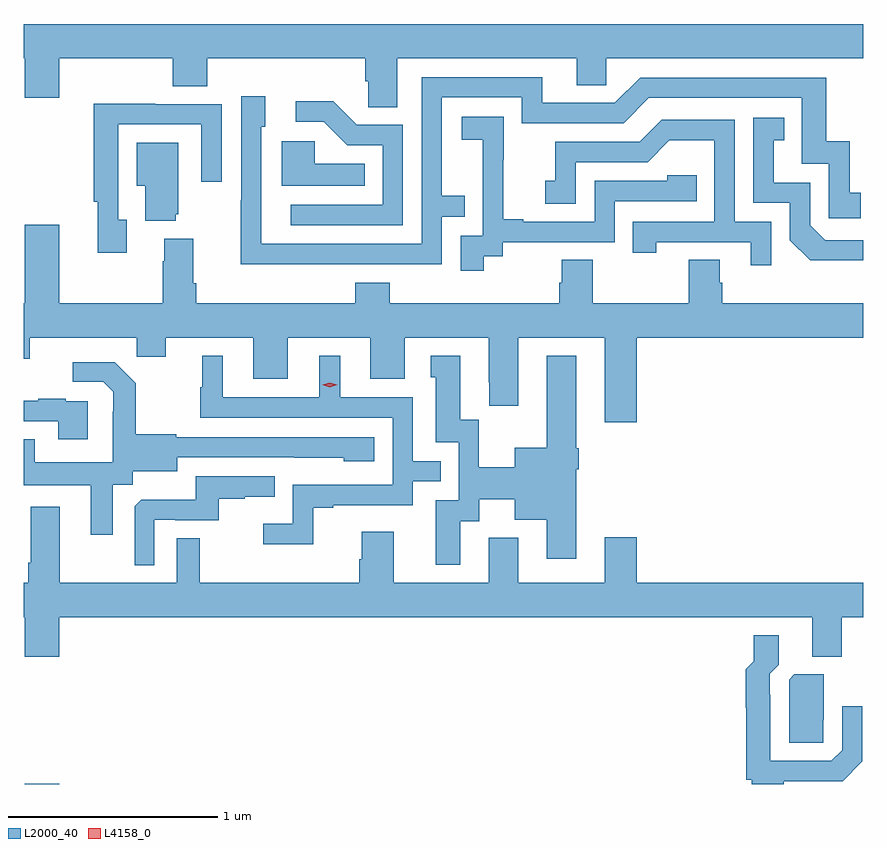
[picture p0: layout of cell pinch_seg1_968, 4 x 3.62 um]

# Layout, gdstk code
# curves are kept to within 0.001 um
import gdstk
lib = gdstk.Library(unit=1e-6, precision=1e-09)
def R(c, l, rs):  # rectangles x0, y0, x1, y1
    for r in rs: c.add(gdstk.rectangle(r[:2], r[2:], *l))
def P(c, l, *ps):  # polygons
    for p in ps: c.add(gdstk.Polygon(p, *l))
L2000_40 = (2000, 40)
L4158_0 = (4158, 0)

pinch_seg1_968 = lib.new_cell('pinch_seg1_968')
R(pinch_seg1_968, L2000_40, [(284.888,573.582,285.052,573.583)])
P(pinch_seg1_968, L2000_40, [(284.883,577.04),(284.888,577.04),(284.888,576.852),(285.052,576.852),(285.052,577.04),(285.593,577.04),(285.593,576.907),(285.758,576.907),(285.758,577.04),(286.511,577.04),(286.511,576.931),(286.524,576.931),(286.524,576.808),(286.663,576.808),(286.663,577.04),(287.519,577.04),(287.519,576.913),(287.658,576.913),(287.658,577.04),(288.883,577.04),(288.883,577.204),(284.883,577.204)],
  [(286.379,576.06),(286.875,576.06),(286.875,576.285),(286.985,576.285),(286.985,576.386),(286.875,576.386),(286.875,576.855),(287.256,576.855),(287.256,576.732),(287.742,576.732),(287.862,576.852),(288.591,576.852),(288.591,576.537),(288.72,576.537),(288.72,576.279),(288.871,576.279),(288.871,576.399),(288.818,576.399),(288.818,576.646),(288.707,576.646),(288.707,576.948),(287.82,576.948),(287.7,576.828),(287.353,576.828),(287.353,576.951),(286.779,576.951),(286.779,576.156),(286.015,576.156),(286.014,576.714),(286.033,576.714),(286.033,576.859),(285.918,576.859),(285.918,576.365),(285.916,576.365),(285.916,576.059)],
  [(286.689,576.723),(286.47,576.723),(286.357,576.836),(286.179,576.836),(286.179,576.738),(286.313,576.738),(286.424,576.627),(286.593,576.627),(286.593,576.342),(286.155,576.342),(286.155,576.246),(286.689,576.246)],
  [(285.373,576.27),(285.333,576.27),(285.333,576.726),(285.729,576.726),(285.729,576.453),(285.825,576.453),(285.825,576.822),(285.509,576.822),(285.509,576.824),(285.217,576.824),(285.217,576.358),(285.236,576.358),(285.236,576.114),(285.373,576.114)],
  [(287.074,576.097),(287.166,576.097),(287.166,576.165),(287.7,576.165),(287.7,576.36),(288.089,576.36),(288.089,576.483),(287.949,576.483),(287.949,576.456),(287.604,576.456),(287.604,576.261),(287.263,576.261),(287.263,576.274),(287.168,576.274),(287.168,576.557),(287.169,576.557),(287.169,576.763),(286.971,576.763),(286.971,576.653),(287.069,576.653),(287.069,576.425),(287.07,576.425),(287.07,576.195),(286.965,576.195),(286.965,576.027),(287.074,576.027)],
  [(288.883,576.174),(288.702,576.174),(288.63,576.246),(288.63,576.447),(288.457,576.447),(288.457,576.651),(288.506,576.651),(288.506,576.757),(288.36,576.757),(288.36,576.351),(288.534,576.351),(288.534,576.174),(288.632,576.077),(288.883,576.077)],
  [(288.444,576.261),(288.27,576.261),(288.27,576.747),(287.924,576.747),(287.819,576.642),(287.416,576.642),(287.416,576.457),(287.367,576.457),(287.367,576.348),(287.514,576.348),(287.514,576.546),(287.856,576.546),(287.96,576.65),(288.174,576.65),(288.174,576.261),(287.785,576.261),(287.785,576.114),(287.896,576.114),(287.896,576.165),(288.347,576.165),(288.347,576.054),(288.444,576.054)],
  [(286.508,576.538),(286.269,576.538),(286.269,576.646),(286.112,576.646),(286.112,576.434),(286.508,576.434)],
  [(285.608,576.297),(285.619,576.297),(285.619,576.637),(285.422,576.637),(285.422,576.434),(285.461,576.434),(285.461,576.266),(285.608,576.266)],
  [(287.804,575.708),(288.883,575.708),(288.883,575.872),(288.212,575.872),(288.212,575.97),(288.199,575.97),(288.199,576.08),(288.052,576.08),(288.052,575.872),(287.595,575.872),(287.595,576.08),(287.447,576.08),(287.447,575.97),(287.435,575.97),(287.435,575.872),(286.628,575.872),(286.628,575.971),(286.463,575.971),(286.463,575.872),(285.704,575.872),(285.704,575.968),(285.691,575.968),(285.691,576.181),(285.551,576.181),(285.551,576.074),(285.544,576.074),(285.544,575.872),(285.052,575.872),(285.052,576.247),(284.888,576.247),(284.888,575.872),(284.883,575.872),(284.883,575.609),(284.911,575.609),(284.911,575.708),(285.421,575.708),(285.421,575.618),(285.559,575.618),(285.559,575.708),(285.977,575.708),(285.977,575.514),(286.141,575.514),(286.141,575.708),(286.535,575.708),(286.535,575.514),(286.699,575.514),(286.699,575.708),(287.099,575.708),(287.099,575.497),(287.1,575.497),(287.1,575.385),(287.239,575.385),(287.239,575.708),(287.651,575.708),(287.651,575.307),(287.804,575.307)],
  [(286.263,574.899),(286.357,574.899),(286.357,574.911),(286.737,574.911),(286.737,575.025),(286.871,575.025),(286.871,575.121),(286.737,575.121),(286.737,575.424),(286.39,575.424),(286.39,575.623),(286.292,575.623),(286.292,575.424),(285.832,575.424),(285.832,575.623),(285.734,575.623),(285.734,575.472),(285.723,575.472),(285.723,575.328),(286.641,575.328),(286.641,575.007),(286.164,575.007),(286.164,574.822),(286.023,574.822),(286.023,574.724),(286.263,574.724)],
  [(286.963,574.834),(287.053,574.834),(287.053,574.94),(287.222,574.94),(287.222,574.841),(287.375,574.841),(287.375,574.656),(287.515,574.656),(287.515,575.081),(287.528,575.081),(287.528,575.181),(287.515,575.181),(287.515,575.623),(287.375,575.623),(287.375,575.185),(287.222,575.185),(287.222,575.092),(287.052,575.092),(287.052,575.319),(286.963,575.319),(286.963,575.623),(286.823,575.623),(286.823,575.52),(286.847,575.52),(286.847,575.211),(286.956,575.211),(286.956,574.935),(286.847,574.935),(286.847,574.626),(286.963,574.626)],
  [(285.307,575.008),(285.402,575.008),(285.402,575.072),(285.613,575.072),(285.613,575.139),(286.407,575.138),(286.407,575.12),(286.552,575.12),(286.552,575.235),(285.609,575.235),(285.609,575.248),(285.417,575.248),(285.417,575.493),(285.317,575.593),(285.117,575.593),(285.117,575.499),(285.261,575.499),(285.308,575.452),(285.308,575.357),(285.306,575.357),(285.306,575.116),(284.935,575.116),(284.935,575.225),(284.883,575.225),(284.883,575.006),(285.203,575.006),(285.203,574.77),(285.307,574.77)],
  [(285.187,575.406),(285.083,575.406),(285.083,575.419),(284.951,575.419),(284.951,575.408),(284.883,575.408),(284.883,575.31),(285.047,575.31),(285.047,575.226),(285.187,575.226)],
  [(285.504,574.842),(285.604,574.842),(285.604,574.839),(285.812,574.839),(285.812,574.941),(285.935,574.941),(285.935,574.952),(286.079,574.952),(286.079,575.049),(285.702,575.049),(285.702,574.937),(285.443,574.937),(285.411,574.905),(285.411,574.625),(285.504,574.625)],
  [(285.052,574.376),(288.641,574.376),(288.641,574.189),(288.781,574.189),(288.781,574.376),(288.883,574.376),(288.883,574.54),(287.804,574.54),(287.804,574.759),(287.651,574.759),(287.651,574.54),(287.239,574.54),(287.239,574.756),(287.099,574.756),(287.099,574.54),(286.645,574.54),(286.645,574.783),(286.493,574.783),(286.493,574.653),(286.481,574.653),(286.481,574.54),(285.721,574.54),(285.721,574.754),(285.612,574.754),(285.612,574.54),(285.055,574.54),(285.055,574.903),(284.915,574.903),(284.915,574.636),(284.903,574.636),(284.903,574.54),(284.883,574.54),(284.883,574.376),(284.888,574.376),(284.888,574.188),(285.052,574.188)],
  [(288.505,573.596),(288.785,573.596),(288.879,573.69),(288.879,573.952),(288.783,573.952),(288.783,573.744),(288.732,573.693),(288.441,573.693),(288.441,574.007),(288.438,574.007),(288.438,574.107),(288.481,574.15),(288.481,574.291),(288.361,574.291),(288.361,574.167),(288.323,574.128),(288.323,573.946),(288.325,573.946),(288.325,573.603),(288.353,573.603),(288.353,573.582),(288.505,573.582)],
  [(288.693,573.889),(288.694,573.889),(288.694,574.104),(288.555,574.104),(288.531,574.08),(288.531,573.778),(288.693,573.778)])
P(pinch_seg1_968, L4158_0, [(286.341,575.474),(286.305,575.484),(286.305,575.484),(286.305,575.484),(286.341,575.494),(286.377,575.484),(286.377,575.484),(286.377,575.484)])

lib.write_gds('pinch_seg1_968.gds')
